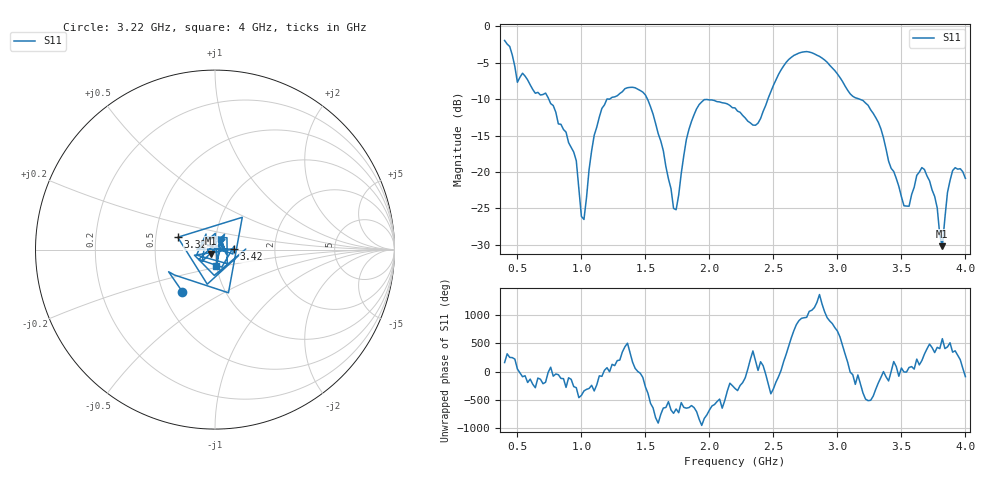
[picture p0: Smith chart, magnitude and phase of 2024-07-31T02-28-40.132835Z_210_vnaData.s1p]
!Created with skrf (http://scikit-rf.org).
# Hz S RI R 50.0
!freq ReS11 ImS11
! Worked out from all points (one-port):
!   181 points, 400 MHz to 4 GHz, reference 50 ohm
!   lowest |S11| = -30.2 dB at 3.82 GHz (marker M1), VSWR 1.06, Z = 47.8 - j2.1 ohm
!   |S11| at or under -10 dB: 744.6 MHz to 1.2 GHz (455 MHz wide, 46.8 % of centre); 1.516 GHz to 2.457 GHz (941.5 MHz wide, 47.4 % of centre); 3.171 GHz to end of sweep (the widest 3 of 4)
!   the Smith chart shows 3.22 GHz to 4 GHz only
!   S11 on the Smith chart (normalised r, x): 3.22 GHz: 0.63, -0.32; 3.32 GHz: 0.65, +0.09; 3.42 GHz: 1.24, +0.01; 4 GHz: 0.99, -0.18
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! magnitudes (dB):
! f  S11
! 400 MHz  -2.0
! 500 MHz  -7.7
! 720 MHz  -9.2
! 860 MHz  -14.2
! 960 MHz  -18.5
! 1.02 GHz  -26.5
! 1.08 GHz  -17.1
! 1.14 GHz  -12.5
! 1.3 GHz  -9.2
! 1.5 GHz  -9.4
! 1.72 GHz  -25.0
! 1.76 GHz  -23.2
! 1.82 GHz  -15.6
! 1.92 GHz  -10.8
! 2.2 GHz  -11.2
! 2.38 GHz  -13.3
! 2.66 GHz  -4.0
! 2.88 GHz  -4.4
! 3.1 GHz  -9.3
! 3.22 GHz  -10.6
! 3.32 GHz  -13.2
! 3.42 GHz  -19.5
! 3.56 GHz  -24.7
! 3.68 GHz  -19.7
! 3.76 GHz  -23.4
! 3.82 GHz  -30.2
! 3.9 GHz  -19.8
! 4 GHz  -20.9
